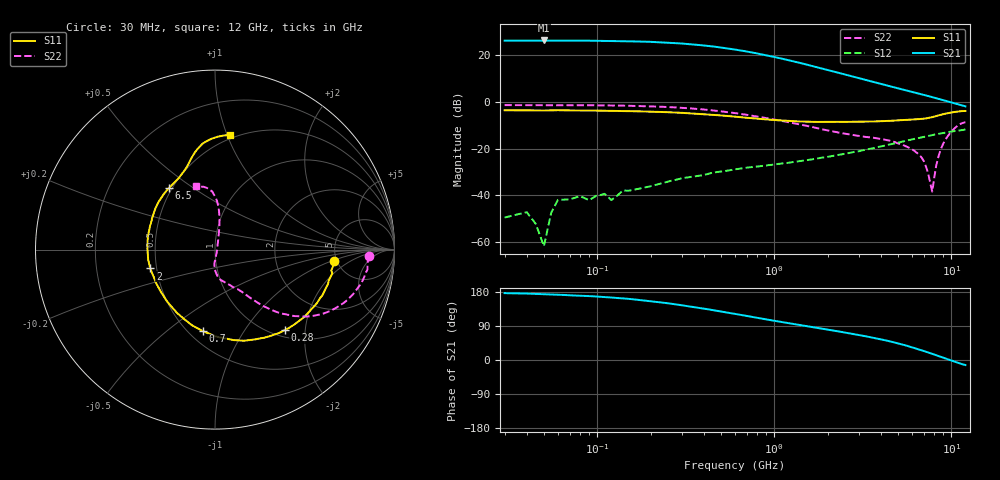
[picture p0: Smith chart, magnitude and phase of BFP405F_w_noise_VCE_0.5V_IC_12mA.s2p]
! Infineon Technologies  Discrete & RF Semiconductors
! BFP405F
! VCE =  0.5 V,  IC =  12 mA
! Common Emitter S-Parameters:  Nov 2015
# GHz  S  MA  R  50
!  f  S11  S21  S12  S22
! GHz  MAG  ANG  MAG  ANG  MAG  ANG  MAG  ANG
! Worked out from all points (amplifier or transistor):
!   239 points, 30 MHz to 12 GHz, reference 50 ohm
!   highest |S21| = 26.5 dB at 50 MHz (marker M1)
!   |S21| within 3 dB of that: start of sweep to 495.8 MHz
!   unconditionally stable (mu >= 1): start of sweep to 34.58 MHz; 41.81 MHz to 53.82 MHz; 1.207 GHz to end of sweep
!   at 300 MHz: K = 0.42, MSG = 29.0 dB, |S12| = -32.8 dB
!   at 1.88 GHz: K = 1.27, MAG = 15.9 dB, |S12| = -23.8 dB
!   at 12 GHz: K = 1.55, MAG = 0.6 dB, |S12| = -11.8 dB
!   lowest NFmin = 1.80 dB at 450 MHz
!   S11 on the Smith chart (normalised r, x): 30 MHz: 4.71, -1.12; 280 MHz: 1.12, -1.56; 700 MHz: 0.59, -0.68; 2 GHz: 0.46, -0.11; 6.5 GHz: 0.48, +0.41; 12 GHz: 0.47, +1.02
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0.03  0.6657 -5.7  20.79 176.4  0.0033 80.0  0.8593 -2.3
0.04  0.6646 -7.8  20.88 175.3  0.0043 83.3  0.8597 -3.3
0.05  0.6581 -10.3  21.05 173.5  0.0008 135.9  0.8537 -4.2
0.06  0.6671 -11.4  20.91 172.4  0.0079 87.7  0.8547 -5.1
0.085  0.6573 -16.2  20.77 169.1  0.0086 85.1  0.8554 -7.7
0.15  0.6405 -28.2  20.23 161.3  0.0124 80.7  0.8318 -13.7
0.2  0.6233 -37.0  19.66 155.0  0.0155 76.8  0.8085 -17.9
0.24  0.6084 -43.1  18.98 150.8  0.0187 74.5  0.7877 -21.0
0.28  0.5929 -49.2  18.37 146.6  0.0215 68.1  0.7634 -23.9
0.4  0.5469 -66.3  16.42 135.5  0.027 64.6  0.6914 -31.4
0.6  0.4853 -89.0  13.41 121.5  0.0358 57.7  0.5789 -39.8
0.7  0.4594 -98.4  12.18 116.1  0.039 54.5  0.5303 -42.8
0.9  0.4229 -114.3  10.12 107.1  0.0434 52.4  0.4525 -47.3
1.1  0.4003 -127.1  8.56 100.3  0.0479 51.5  0.3931 -50.5
1.64  0.3758 -152.0  5.953 86.9  0.0588 50.9  0.2905 -56.6
2  0.3757 -163.8  4.897 80.2  0.0662 51.0  0.2469 -62.0
2.9  0.3775 176.2  3.371 67.3  0.0866 50.2  0.1911 -72.9
4.5  0.3946 151.0  2.184 49.2  0.1231 45.7  0.1475 -84.9
6.5  0.4292 126.5  1.534 28.5  0.1679 35.8  0.0763 -92.8
7.8  0.4739 110.8  1.275 16.3  0.1951 28.8  0.0119 7.4
9  0.5494 102.1  1.097 6.0  0.2163 21.5  0.128 79.1
12  0.6419 82.6  0.807 -13.3  0.2576 7.4  0.3693 107.0
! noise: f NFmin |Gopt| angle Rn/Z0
0.45  1.8  0.16  4  0.33
0.9  1.81  0.15  8  0.33
1.5  1.86  0.13  12  0.23
1.9  1.91  0.12  19  0.29
2.4  2.04  0.1  26  0.38
3  2.11  0.08  35  0.4
3.5  2.17  0.06  40  0.45
4.5  2.36  0.03  -10  0.19
5.5  2.6  0.12  -85  0.06
